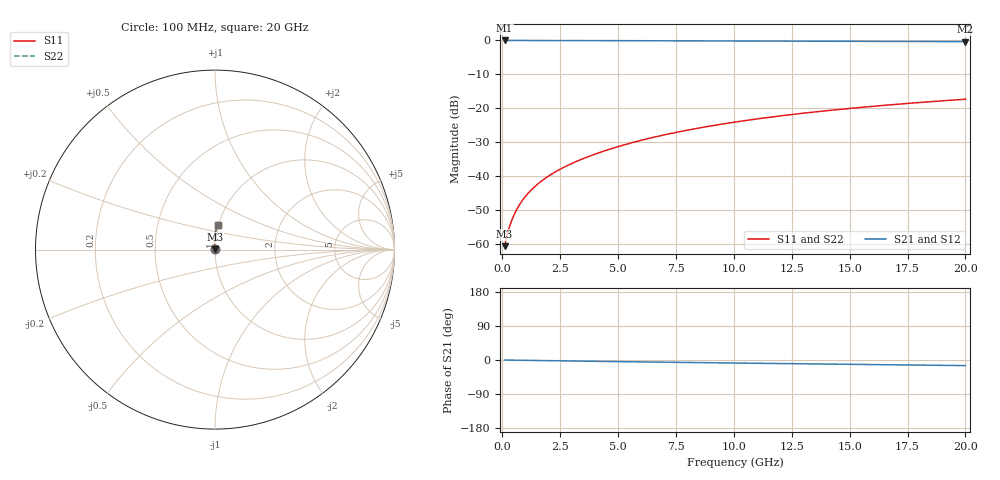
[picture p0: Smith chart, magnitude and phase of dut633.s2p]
! Touchstone file exported from HFSS 2024.1.0
!  File:  C:/UserFiles/LocalFiles/RDL_TSV_Batchsim/temp_RDL_top_633_1779780652.aedt
!  Generated:  03:35:28 PM May 26, 2026
!  Design:  RDL_top
!  Project:  temp_RDL_top_633_1779780652
!  Setup:  Setup1
!  Solution:  Sweep
! Variables:
!  dtsv = 10.80580581um
!  hbump = 3um
!  htsv = 59.46um
!  ldown = 100um
!  lrdl = 207.09um
!  p = 40
!  p1 = 49.33um
!  rhole = 1um
!  t = 450um
!  tdown = 3.915915916um
!  trdl = 4.78um
!  wdown = 15.38538539um
!  wrdl = 28.2um
# GHz S MA R 50.000000
! Terminal data exported
! Port[1] = Box2_T1
! Port[2] = Box2_T2
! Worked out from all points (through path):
!   200 points, 100 MHz to 20 GHz, reference 50 ohm
!   highest |S21| = -0.01 dB at 100 MHz (marker M1); lowest = -0.3 dB at 20 GHz (marker M2)
!   group delay of S21, straight-line fit = 2.02 ps
!   lowest |S11| = -60.6 dB at 100 MHz (marker M3), VSWR 1.00, Z = 50.1 + j0.0576 ohm
!   |S11| at or under -10 dB: start of sweep to end of sweep
!   |S22| runs from -60.6 to -17.3 dB; largest |S21 - S12| = 4.2e-15
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0.1  0.0009329 38.1  0.9993 -0.1  0.9993 -0.1  0.0009329 38.1
! Gamma 0 0 0 0
! Port Impedance 50 0 50 0
0.2  0.001336 53.8  0.9992 -0.2  0.9992 -0.2  0.001336 53.8
0.3  0.001759 62.5  0.9991 -0.3  0.9991 -0.3  0.001759 62.5
0.4  0.0022 68.2  0.999 -0.4  0.999 -0.4  0.0022 68.2
0.5  0.002656 72.3  0.999 -0.5  0.999 -0.5  0.002656 72.3
0.6  0.003122 75.2  0.9989 -0.5  0.9989 -0.5  0.003122 75.2
0.8  0.004073 79.3  0.9988 -0.7  0.9988 -0.7  0.004073 79.3
1.1  0.005533 83.1  0.9986 -1.0  0.9986 -1.0  0.005533 83.1
1.5  0.00752 86.2  0.9981 -1.3  0.9981 -1.3  0.00752 86.2
1.8  0.009039 87.9  0.9978 -1.6  0.9978 -1.6  0.009038 87.9
2.1  0.01058 89.2  0.9973 -1.9  0.9973 -1.9  0.01058 89.2
2.7  0.01377 91.2  0.9963 -2.4  0.9963 -2.4  0.01377 91.2
3.5  0.01822 93.1  0.9947 -3.1  0.9947 -3.1  0.01822 93.1
4.2  0.02235 94.2  0.9932 -3.6  0.9932 -3.6  0.02235 94.2
5  0.02731 95.0  0.9913 -4.3  0.9913 -4.3  0.02731 95.0
6.8  0.0393 95.4  0.9869 -5.7  0.9869 -5.7  0.0393 95.4
8.4  0.05065 94.7  0.9831 -6.8  0.9831 -6.8  0.05065 94.7
10.1  0.06312 93.4  0.9794 -8.0  0.9794 -8.0  0.06312 93.4
11.7  0.07503 91.9  0.9762 -9.2  0.9762 -9.2  0.07503 91.9
13.4  0.08773 90.3  0.973 -10.3  0.973 -10.3  0.08773 90.3
16.7  0.1122 86.9  0.9672 -12.6  0.9672 -12.6  0.1122 86.9
20  0.1363 83.7  0.9617 -14.8  0.9617 -14.8  0.1363 83.7
